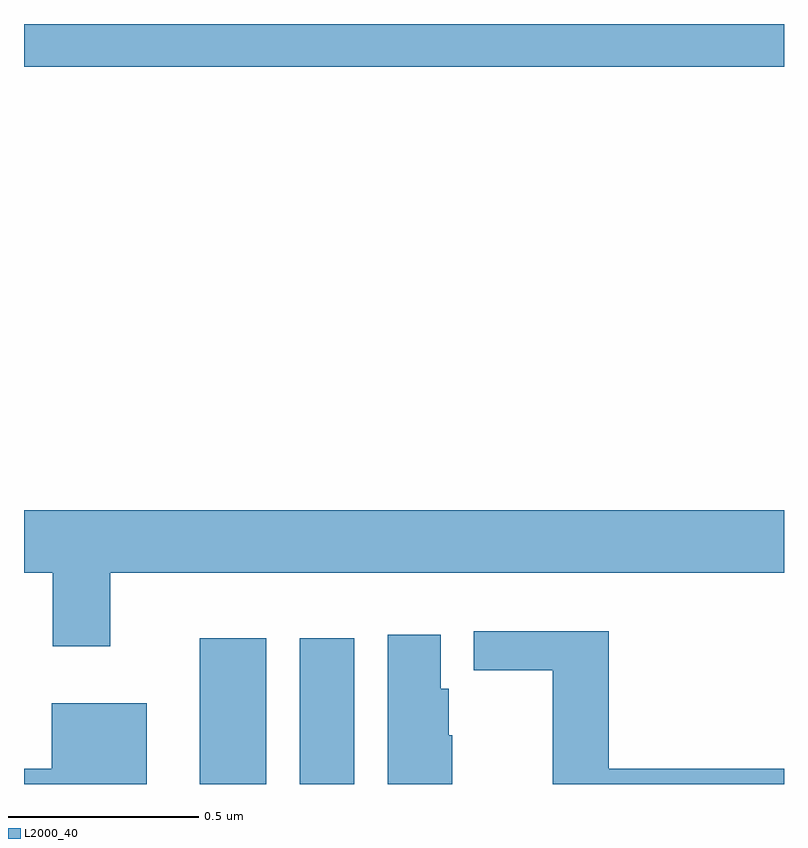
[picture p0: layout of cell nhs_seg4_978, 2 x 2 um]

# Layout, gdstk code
import gdstk
lib = gdstk.Library(unit=1e-6, precision=1e-09)
def R(c, l, rs):  # rectangles x0, y0, x1, y1
    for r in rs: c.add(gdstk.rectangle(r[:2], r[2:], *l))
def P(c, l, *ps):  # polygons
    for p in ps: c.add(gdstk.Polygon(p, *l))
L2000_40 = (2000, 40)

nhs_seg4_978 = lib.new_cell('nhs_seg4_978')
R(nhs_seg4_978, L2000_40, [(122.462,826.9,122.638,827.284), (122.726,826.9,122.869,827.284), (122,828.788,124,828.9)])
P(nhs_seg4_978, L2000_40, [(122.227,827.456),(124,827.456),(124,827.62),(122,827.62),(122,827.456),(122.075,827.456),(122.075,827.262),(122.227,827.262)],
  [(124,826.94),(123.539,826.94),(123.539,827.302),(123.183,827.302),(123.183,827.2),(123.392,827.2),(123.392,826.9),(124,826.9)],
  [(123.127,827.028),(123.118,827.028),(123.118,827.151),(123.097,827.151),(123.097,827.293),(122.957,827.293),(122.957,826.9),(123.127,826.9)],
  [(122.323,827.113),(122.073,827.113),(122.073,826.94),(122,826.94),(122,826.9),(122.323,826.9)])

lib.write_gds('nhs_seg4_978.gds')
